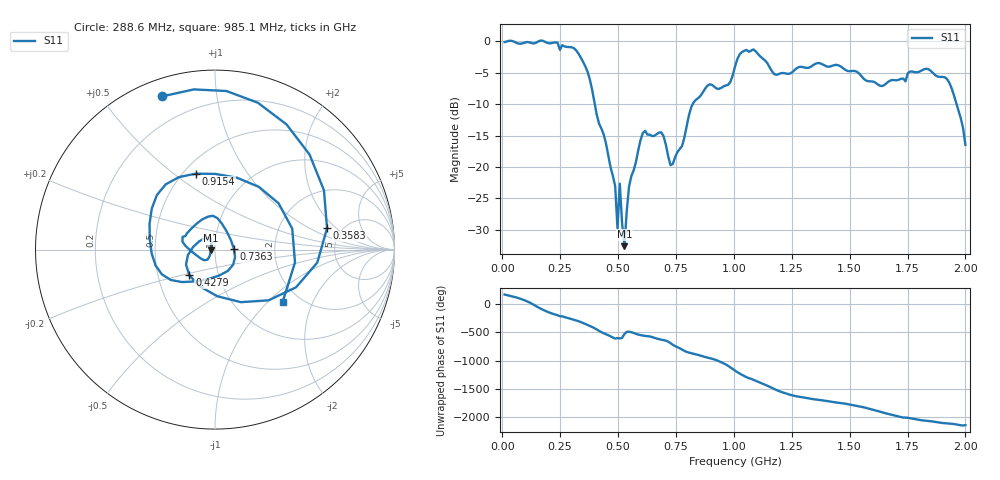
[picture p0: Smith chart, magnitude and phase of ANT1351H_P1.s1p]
!Created with skrf (http://scikit-rf.org).
# Hz S RI R 50.0
!freq ReS11 ImS11
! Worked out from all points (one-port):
!   201 points, 10 MHz to 2 GHz, reference 50 ohm
!   lowest |S11| = -32.6 dB at 527.4 MHz (marker M1), VSWR 1.05, Z = 47.8 - j0.475 ohm
!   |S11| at or under -10 dB: 399.5 MHz to 822.4 MHz (422.9 MHz wide, 69.2 % of centre); 1.962 GHz to end of sweep
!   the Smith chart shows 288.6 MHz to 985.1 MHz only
!   S11 on the Smith chart (normalised r, x): 288.6 MHz: 0.08, +0.71; 358.2 MHz: 3.84, +1.53; 427.9 MHz: 0.72, -0.22; 736.4 MHz: 1.24, +0.01; 915.5 MHz: 0.58, +0.60; 985.1 MHz: 1.64, -1.23
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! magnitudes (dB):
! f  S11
! 10 MHz  -0.1
! 258.8 MHz  -0.6
! 288.6 MHz  -0.9
! 358.2 MHz  -3.9
! 427.9 MHz  -13.9
! 487.6 MHz  -23.1
! 497.6 MHz  -29.8
! 507.5 MHz  -22.7
! 527.4 MHz  -32.6
! 547.3 MHz  -23.1
! 607 MHz  -14.6
! 686.6 MHz  -14.5
! 736.4 MHz  -19.5
! 756.2 MHz  -17.6
! 825.9 MHz  -9.7
! 915.5 MHz  -7.2
! 985.1 MHz  -6.5
! 1.005 GHz  -4.0
! 1.085 GHz  -1.3
! 1.174 GHz  -5.2
! 1.254 GHz  -4.8
! 1.363 GHz  -3.4
! 1.502 GHz  -4.7
! 1.642 GHz  -7.1
! 1.751 GHz  -5.1
! 1.92 GHz  -6.0
! 1.98 GHz  -12.2
! 2 GHz  -16.5
